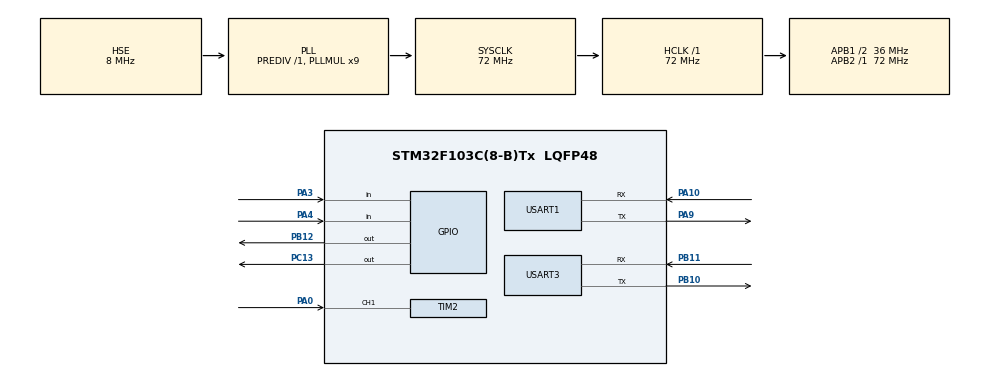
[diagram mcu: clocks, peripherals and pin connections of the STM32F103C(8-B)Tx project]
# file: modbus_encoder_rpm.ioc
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Dma.Request0=USART3_RX
Dma.Request1=USART3_TX
Dma.USART3_RX.0.Direction=DMA_PERIPH_TO_MEMORY
Dma.USART3_RX.0.Instance=DMA1_Channel3
Dma.USART3_RX.0.MemDataAlignment=DMA_MDATAALIGN_BYTE
Dma.USART3_RX.0.MemInc=DMA_MINC_ENABLE
Dma.USART3_RX.0.Mode=DMA_CIRCULAR
Dma.USART3_RX.0.PeriphDataAlignment=DMA_PDATAALIGN_BYTE
Dma.USART3_RX.0.PeriphInc=DMA_PINC_DISABLE
Dma.USART3_RX.0.Priority=DMA_PRIORITY_LOW
Dma.USART3_TX.1.Direction=DMA_MEMORY_TO_PERIPH
Dma.USART3_TX.1.Instance=DMA1_Channel2
Dma.USART3_TX.1.MemDataAlignment=DMA_MDATAALIGN_BYTE
Dma.USART3_TX.1.MemInc=DMA_MINC_ENABLE
Dma.USART3_TX.1.Mode=DMA_NORMAL
Dma.USART3_TX.1.PeriphDataAlignment=DMA_PDATAALIGN_BYTE
Dma.USART3_TX.1.PeriphInc=DMA_PINC_DISABLE
Dma.USART3_TX.1.Priority=DMA_PRIORITY_LOW
IWDG.Prescaler=IWDG_PRESCALER_64
IWDG.Reload=2499
Mcu.Family=STM32F1
Mcu.Name=STM32F103C(8-B)Tx
Mcu.Package=LQFP48
NVIC.DMA1_Channel2_IRQn=true\:0\:0\:false\:false\:true\:false\:true\:true
NVIC.DMA1_Channel3_IRQn=true\:0\:0\:false\:false\:true\:false\:true\:true
NVIC.FLASH_IRQn=true\:0\:0\:false\:false\:true\:true\:true\:true
NVIC.PriorityGroup=NVIC_PRIORITYGROUP_4
NVIC.TIM2_IRQn=true\:0\:0\:false\:false\:true\:true\:true\:true
NVIC.USART1_IRQn=true\:0\:0\:false\:false\:true\:true\:true\:true
NVIC.USART3_IRQn=true\:0\:0\:false\:false\:true\:true\:true\:true
PA0-WKUP.Signal=S_TIM2_CH1_ETR
PA10.Mode=Asynchronous
PA10.Signal=USART1_RX
PA13.Mode=Serial_Wire
PA13.Signal=SYS_JTMS-SWDIO
PA14.Mode=Serial_Wire
PA14.Signal=SYS_JTCK-SWCLK
PA3.GPIO_PuPd=GPIO_PULLUP
PA3.Signal=GPIO_Input
PA4.GPIO_PuPd=GPIO_PULLUP
PA4.Signal=GPIO_Input
PA9.Mode=Asynchronous
PA9.Signal=USART1_TX
PB10.Mode=Asynchronous
PB10.Signal=USART3_TX
PB11.Mode=Asynchronous
PB11.Signal=USART3_RX
PB12.Signal=GPIO_Output
PC13-TAMPER-RTC.Signal=GPIO_Output
PD0-OSC_IN.Mode=HSE-External-Oscillator
PD0-OSC_IN.Signal=RCC_OSC_IN
PD1-OSC_OUT.Mode=HSE-External-Oscillator
PD1-OSC_OUT.Signal=RCC_OSC_OUT
ProjectManager.HeapSize=0x200
ProjectManager.StackSize=0x400
ProjectManager.TargetToolchain=STM32CubeIDE
RCC.AHBFreq_Value=72000000
RCC.APB1CLKDivider=RCC_HCLK_DIV2
RCC.APB1Freq_Value=36000000
RCC.APB1TimFreq_Value=72000000
RCC.APB2Freq_Value=72000000
RCC.APB2TimFreq_Value=72000000
RCC.HCLKFreq_Value=72000000
RCC.PLLMUL=RCC_PLL_MUL9
RCC.PLLSourceVirtual=RCC_PLLSOURCE_HSE
RCC.SYSCLKFreq_VALUE=72000000
RCC.SYSCLKSource=RCC_SYSCLKSOURCE_PLLCLK
RCC.USBFreq_Value=72000000
SH.S_TIM2_CH1_ETR.0=TIM2_CH1,Input_Capture1_from_TI1
TIM2.Channel-Input_Capture1_from_TI1=TIM_CHANNEL_1
TIM2.ICPolarity_CH1=TIM_INPUTCHANNELPOLARITY_RISING
TIM2.Period=999
TIM2.Prescaler=8000
TIM4.Prescaler=71
USART1.VirtualMode=VM_ASYNC
USART3.VirtualMode=VM_ASYNC
VP_IWDG_VS_IWDG.Mode=IWDG_Activate
VP_TIM2_VS_ClockSourceINT.Mode=Internal
VP_TIM4_VS_ClockSourceINT.Mode=Internal
board=custom

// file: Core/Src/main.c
/* USER CODE BEGIN Header */
/**
 ******************************************************************************
 * @file           : main.c
 * @brief          : Main program body
 ******************************************************************************
 * @attention
 *
 * Copyright (c) 2025 STMicroelectronics.
 * All rights reserved.
 *
 * This software is licensed under terms that can be found in the LICENSE file
 * in the root directory of this software component.
 * If no LICENSE file comes with this software, it is provided AS-IS.
 *
 ******************************************************************************
 */
/* USER CODE END Header */
#include "main.h"

/* USER CODE BEGIN Includes */
#include "myFlash.h"
#include "myEncoder.h"
#include "myUart.h"

#include "queue/queue.h"
#include "modbus_master/modbus_master.h"
#include "modbus_slave/modbus_slave.h"
#include <stdlib.h>
#include <math.h>
#include "wifi_command/wifi_command.h"
/* USER CODE END Includes */

/* USER CODE BEGIN PTD */
Encoder_t enc2;
UartReceiver_t uart_rx;
/* USER CODE END PTD */

/* USER CODE BEGIN PD */

//#define M_LENGTH
//#define MODBUS_MASTER 	//uncomment để bật chế đô modbus slave

/* USER CODE END PD */

/* USER CODE BEGIN PM */
uint32_t PPR = 600;
float DIA = 0.25f;
uint32_t TIME = 100000;  // 100ms in microseconds
int64_t pulse_t = 0;
int rpm_int = 0;
int speed_m_min = 0;
// TIM4 time-base variables
volatile uint32_t tim4_overflow_count = 0;

volatile uint32_t ic_val1 = 0;
volatile uint32_t ic_val2 = 0;
volatile uint32_t delta = 0;
volatile uint8_t  is_first_capture = 0;
volatile float rpm = 0.0f;
// Timer sau chia prescaler còn 100kHz
#define TIM_CLK_HZ   100000.0f
/* USER CODE END PM */

IWDG_HandleTypeDef hiwdg;

TIM_HandleTypeDef htim2;
TIM_HandleTypeDef htim4;

UART_HandleTypeDef huart1;
UART_HandleTypeDef huart3;
DMA_HandleTypeDef hdma_usart3_rx;
DMA_HandleTypeDef hdma_usart3_tx;

/* USER CODE BEGIN PV */
// ------------------- Printf --------------------------
#ifdef __GNUC__
int __io_putchar(int ch)
#else
int fputc(int ch, FILE *f)
#endif
{
	HAL_UART_Transmit(&huart1, (uint8_t*) &ch, 1, HAL_MAX_DELAY);
	return ch;
}
/* USER CODE END PV */

void SystemClock_Config(void);
static void MX_GPIO_Init(void);
static void MX_DMA_Init(void);
static void MX_TIM2_Init(void);
static void MX_IWDG_Init(void);
static void MX_USART1_UART_Init(void);
static void MX_USART3_UART_Init(void);
static void MX_TIM4_Init(void);
/* USER CODE BEGIN PFP */

// TIM4 time-base functions for microsecond precision
uint32_t GetMicros(void) {
	return (tim4_overflow_count * 65536UL) + __HAL_TIM_GET_COUNTER(&htim4);
}

// More precise millisecond function
uint32_t GetMillis(void) {
	static uint32_t last_micros = 0;
	static uint32_t millis_count = 0;

	uint32_t current_micros = GetMicros();

	// Check if 1000 microseconds have passed
	if (current_micros - last_micros >= 1000) {
		millis_count += (current_micros - last_micros) / 1000;
		last_micros = current_micros - ((current_micros - last_micros) % 1000);
	}

	return millis_count;
}

// Alternative: Direct microsecond-based timing for encoder
uint64_t GetMicros64(void) {
	return (uint64_t) tim4_overflow_count * 65536ULL
			+ __HAL_TIM_GET_COUNTER(&htim4);
}

void HAL_UART_IDLE_Callback(UART_HandleTypeDef *huart) {
	printf("HAL_UART_IDLE_Callback!\n");
	if (huart->Instance == USART3) {
		uint16_t len = UART_RX_BUFFER_SIZE
				- __HAL_DMA_GET_COUNTER(huart->hdmarx);
		if (len > 0 && len <= MODBUS_FRAME_MAX_LEN) {
			queue_frame_t frame;
			memcpy(frame.data, uart_rx_buffer, len);
			frame.len = len;

			if (!queue_push(&frame)) {
				printf("⚠️ Queue full- Remove frame!\r\n");
			}
		}

		// Reset DMA
		HAL_UART_DMAStop(huart);
		HAL_UART_Receive_DMA(huart, uart_rx_buffer, UART_RX_BUFFER_SIZE);
	}
}

////////////////////// Dùng cái này nếu stm32 là MODBUS SLAVE /////////////
#define SLAVE_ID 0x01
uint16_t holding_regs[10];
volatile uint32_t encoder_pulses = 0;
volatile uint32_t distance_mm = 0;
void on_write_single_register(uint16_t addr, uint16_t value) {
	switch (addr) {
	case 0:
		holding_regs[0] = value;
		PPR = value;
		myFlash_Write(FLASH_PAGE_PPR, PPR);
		break; // số xung
	case 1:
		holding_regs[1] = value;
		DIA = (float) value / 1000.0;
		myFlash_Write(FLASH_PAGE_DIA, *(uint32_t*) &DIA);
		break; // đường kính (mm)
	case 2:
		holding_regs[2] = value;
		TIME = value * 1000;  // Convert ms input to microseconds
		myFlash_Write(FLASH_PAGE_TIME, TIME);
		break; // thời gian lấy mẫu (ms input, stored as us)
	default:
		break;
	}
	Encoder_Init(&enc2, &htim2, (PPR), DIA, TIME);
}
void on_write_multiple_registers(uint16_t addr, const uint16_t *values,
		uint16_t quantity) {
	printf("Master write multi registers!\n");
}
void modbus_slave_setup() {
	modbus_slave_config_t slave_cfg = { .id = 1, .holding_registers =
			holding_regs, .holding_register_count = 10,
			.on_write_single_register = on_write_single_register,
			.on_write_multiple_registers = on_write_multiple_registers };

	modbus_slave_init(&huart3, &slave_cfg);
	holding_regs[0] = PPR;  // số xung
	holding_regs[1] = DIA * 1000;  // đường kính (mm)
	holding_regs[2] = TIME / 1000; // thời gian lấy mẫu (display as ms)
}

/* USER CODE END PFP */

/* USER CODE BEGIN 0 */
int32_t len_val;
float dia_val;
#ifdef M_LENGTH
float length = 0;
#endif
uint8_t test = 0;
uint8_t uart_byte;
uint32_t parity = 0;
uint32_t c_uart = 0;
uint16_t CaptureTime = 0;
void HAL_UART_RxCpltCallback(UART_HandleTypeDef *huart) {
	if (huart->Instance == USART1) {
//    	HAL_UART_Transmit(&huart1, "hello", 8, 100);

		HAL_UART_Receive_IT(&huart1, &uart_byte, 1);
		MyUart_OnRx(&uart_rx, uart_byte);
	}
}

void HAL_UART_TxCpltCallback(UART_HandleTypeDef *huart) {
	if (huart->Instance == USART3) {
		HAL_GPIO_WritePin(GPIOB, GPIO_PIN_12, GPIO_PIN_RESET);
	}
}
void HAL_TIM_IC_CaptureCallback(TIM_HandleTypeDef *htim)
{
    if (htim->Instance == TIM2)
    {
    	CaptureTime = __HAL_TIM_GET_COMPARE(htim, TIM_CHANNEL_1);
    	__HAL_TIM_SET_COUNTER(htim, 0); // Reset counter after capture

    }
}
/* USER CODE END 0 */

int main(void)
{

  /* MCU Configuration--------------------------------------------------------*/

  /* Reset of all peripherals, Initializes the Flash interface and the Systick. */
  HAL_Init();

  /* Configure the system clock */
  SystemClock_Config();

  /* Initialize all configured peripherals */
  MX_GPIO_Init();
  MX_DMA_Init();
  MX_TIM2_Init();
  MX_IWDG_Init();
  MX_USART1_UART_Init();
  MX_USART3_UART_Init();
  MX_TIM4_Init();
  /* USER CODE BEGIN 2 */
	// ----------------- UART3 -----------------------------
	HAL_UART_Receive_DMA(&huart3, uart_rx_buffer, UART_RX_BUFFER_SIZE);
	__HAL_UART_ENABLE_IT(&huart3, UART_IT_IDLE);
	modbus_slave_setup();

	// ----------------- UART1 -----------------------------
	MyUart_Init(&uart_rx, &huart1);
	HAL_UART_Receive_IT(&huart1, &uart_byte, 1);

	// ----------------- TIM4 Time Base ----------------------
	HAL_TIM_Base_Start_IT(&htim4); // Start TIM4 with interrupt for overflow counting

	// Enable TIM4 interrupt
	HAL_NVIC_SetPriority(TIM4_IRQn, 2, 0);
	HAL_NVIC_EnableIRQ(TIM4_IRQn);

	// ----------------- IWDG -------------------------------
	HAL_IWDG_Init(&hiwdg);
//  Encoder_Init(&enc2, &htim2, PPR, DIA, TIME);
	HAL_TIM_IC_Start_IT(&htim2, TIM_CHANNEL_1);
  /* USER CODE END 2 */

  /* Infinite loop */
  /* USER CODE BEGIN WHILE */
	while (1) {
// ------------------------------- Refresh Watchdog --------------------------
		HAL_IWDG_Refresh(&hiwdg);

// ------------------------------- Test Timing Accuracy ----------------------
//	  test_timing_accuracy();

// ------------------------------- Receive UART ------------------------------
		holding_regs[0] = PPR;  // số xung
		holding_regs[1] = DIA * 1000;  // đường kính (mm)
		holding_regs[2] = TIME / 1000; // thời gian lấy mẫu (display as ms)

//	  pulse_t = Encoder_GetPulse(&enc2);
// -------------------------- Update Encoder ---------------------
//	  Encoder_Update(&enc2);
		// Convert float RPM to int for Modbus transmission
//		rpm_int = Encoder_GetRPMInt(&enc2);
//		speed_m_min = Encoder_GetMetersPerMinuteInt(&enc2);
//		holding_regs[5] = (uint16_t) (rpm_int & 0xFFFF);
//		holding_regs[6] = (uint16_t) ((rpm_int >> 16) & 0xFFFF);
		queue_frame_t frame;
		if (queue_pop(&frame)) {
			printf("📥 Processing %d byte\n", frame.len);
			modbus_slave_handle_frame(frame.data, frame.len);
		}

    /* USER CODE END WHILE */

	}
}

void SystemClock_Config(void)
{
  RCC_OscInitTypeDef RCC_OscInitStruct = {0};
  RCC_ClkInitTypeDef RCC_ClkInitStruct = {0};

  /** Initializes the RCC Oscillators according to the specified parameters
  * in the RCC_OscInitTypeDef structure.
  */
  RCC_OscInitStruct.OscillatorType = RCC_OSCILLATORTYPE_LSI|RCC_OSCILLATORTYPE_HSE;
  RCC_OscInitStruct.HSEState = RCC_HSE_ON;
  RCC_OscInitStruct.HSEPredivValue = RCC_HSE_PREDIV_DIV1;
  RCC_OscInitStruct.HSIState = RCC_HSI_ON;
  RCC_OscInitStruct.LSIState = RCC_LSI_ON;
  RCC_OscInitStruct.PLL.PLLState = RCC_PLL_ON;
  RCC_OscInitStruct.PLL.PLLSource = RCC_PLLSOURCE_HSE;
  RCC_OscInitStruct.PLL.PLLMUL = RCC_PLL_MUL9;
  if (HAL_RCC_OscConfig(&RCC_OscInitStruct) != HAL_OK)
  {
    Error_Handler();
  }

  /** Initializes the CPU, AHB and APB buses clocks
  */
  RCC_ClkInitStruct.ClockType = RCC_CLOCKTYPE_HCLK|RCC_CLOCKTYPE_SYSCLK
                              |RCC_CLOCKTYPE_PCLK1|RCC_CLOCKTYPE_PCLK2;
  RCC_ClkInitStruct.SYSCLKSource = RCC_SYSCLKSOURCE_PLLCLK;
  RCC_ClkInitStruct.AHBCLKDivider = RCC_SYSCLK_DIV1;
  RCC_ClkInitStruct.APB1CLKDivider = RCC_HCLK_DIV2;
  RCC_ClkInitStruct.APB2CLKDivider = RCC_HCLK_DIV1;

  if (HAL_RCC_ClockConfig(&RCC_ClkInitStruct, FLASH_LATENCY_2) != HAL_OK)
  {
    Error_Handler();
  }
}

static void MX_IWDG_Init(void)
{

  hiwdg.Instance = IWDG;
  hiwdg.Init.Prescaler = IWDG_PRESCALER_64;
  hiwdg.Init.Reload = 2499;
  if (HAL_IWDG_Init(&hiwdg) != HAL_OK)
  {
    Error_Handler();
  }

}

static void MX_TIM2_Init(void)
{

  TIM_ClockConfigTypeDef sClockSourceConfig = {0};
  TIM_MasterConfigTypeDef sMasterConfig = {0};
  TIM_IC_InitTypeDef sConfigIC = {0};

  htim2.Instance = TIM2;
  htim2.Init.Prescaler = 8000;
  htim2.Init.CounterMode = TIM_COUNTERMODE_UP;
  htim2.Init.Period = 999;
  htim2.Init.ClockDivision = TIM_CLOCKDIVISION_DIV1;
  htim2.Init.AutoReloadPreload = TIM_AUTORELOAD_PRELOAD_DISABLE;
  if (HAL_TIM_Base_Init(&htim2) != HAL_OK)
  {
    Error_Handler();
  }
  sClockSourceConfig.ClockSource = TIM_CLOCKSOURCE_INTERNAL;
  if (HAL_TIM_ConfigClockSource(&htim2, &sClockSourceConfig) != HAL_OK)
  {
    Error_Handler();
  }
  if (HAL_TIM_IC_Init(&htim2) != HAL_OK)
  {
    Error_Handler();
  }
  sMasterConfig.MasterOutputTrigger = TIM_TRGO_RESET;
  sMasterConfig.MasterSlaveMode = TIM_MASTERSLAVEMODE_DISABLE;
  if (HAL_TIMEx_MasterConfigSynchronization(&htim2, &sMasterConfig) != HAL_OK)
  {
    Error_Handler();
  }
  sConfigIC.ICPolarity = TIM_INPUTCHANNELPOLARITY_RISING;
  sConfigIC.ICSelection = TIM_ICSELECTION_DIRECTTI;
  sConfigIC.ICPrescaler = TIM_ICPSC_DIV1;
  sConfigIC.ICFilter = 0;
  if (HAL_TIM_IC_ConfigChannel(&htim2, &sConfigIC, TIM_CHANNEL_1) != HAL_OK)
  {
    Error_Handler();
  }

}

static void MX_TIM4_Init(void)
{

  TIM_ClockConfigTypeDef sClockSourceConfig = {0};
  TIM_MasterConfigTypeDef sMasterConfig = {0};

  htim4.Instance = TIM4;
  htim4.Init.Prescaler = 71;
  htim4.Init.CounterMode = TIM_COUNTERMODE_UP;
  htim4.Init.Period = 65535;
  htim4.Init.ClockDivision = TIM_CLOCKDIVISION_DIV1;
  htim4.Init.AutoReloadPreload = TIM_AUTORELOAD_PRELOAD_DISABLE;
  if (HAL_TIM_Base_Init(&htim4) != HAL_OK)
  {
    Error_Handler();
  }
  sClockSourceConfig.ClockSource = TIM_CLOCKSOURCE_INTERNAL;
  if (HAL_TIM_ConfigClockSource(&htim4, &sClockSourceConfig) != HAL_OK)
  {
    Error_Handler();
  }
  sMasterConfig.MasterOutputTrigger = TIM_TRGO_RESET;
  sMasterConfig.MasterSlaveMode = TIM_MASTERSLAVEMODE_DISABLE;
  if (HAL_TIMEx_MasterConfigSynchronization(&htim4, &sMasterConfig) != HAL_OK)
  {
    Error_Handler();
  }

}

static void MX_USART1_UART_Init(void)
{

  huart1.Instance = USART1;
  huart1.Init.BaudRate = 115200;
  huart1.Init.WordLength = UART_WORDLENGTH_8B;
  huart1.Init.StopBits = UART_STOPBITS_1;
  huart1.Init.Parity = UART_PARITY_NONE;
  huart1.Init.Mode = UART_MODE_TX_RX;
  huart1.Init.HwFlowCtl = UART_HWCONTROL_NONE;
  huart1.Init.OverSampling = UART_OVERSAMPLING_16;
  if (HAL_UART_Init(&huart1) != HAL_OK)
  {
    Error_Handler();
  }

}

static void MX_USART3_UART_Init(void)
{

  huart3.Instance = USART3;
  huart3.Init.BaudRate = 115200;
  huart3.Init.WordLength = UART_WORDLENGTH_8B;
  huart3.Init.StopBits = UART_STOPBITS_1;
  huart3.Init.Parity = UART_PARITY_NONE;
  huart3.Init.Mode = UART_MODE_TX_RX;
  huart3.Init.HwFlowCtl = UART_HWCONTROL_NONE;
  huart3.Init.OverSampling = UART_OVERSAMPLING_16;
  if (HAL_UART_Init(&huart3) != HAL_OK)
  {
    Error_Handler();
  }

}

static void MX_DMA_Init(void)
{

  /* DMA controller clock enable */
  __HAL_RCC_DMA1_CLK_ENABLE();

  /* DMA interrupt init */
  /* DMA1_Channel2_IRQn interrupt configuration */
  HAL_NVIC_SetPriority(DMA1_Channel2_IRQn, 0, 0);
  HAL_NVIC_EnableIRQ(DMA1_Channel2_IRQn);
  /* DMA1_Channel3_IRQn interrupt configuration */
  HAL_NVIC_SetPriority(DMA1_Channel3_IRQn, 0, 0);
  HAL_NVIC_EnableIRQ(DMA1_Channel3_IRQn);

}

static void MX_GPIO_Init(void)
{
  GPIO_InitTypeDef GPIO_InitStruct = {0};

  /* GPIO Ports Clock Enable */
  __HAL_RCC_GPIOC_CLK_ENABLE();
  __HAL_RCC_GPIOD_CLK_ENABLE();
  __HAL_RCC_GPIOA_CLK_ENABLE();
  __HAL_RCC_GPIOB_CLK_ENABLE();

  /*Configure GPIO pin Output Level */
  HAL_GPIO_WritePin(GPIOC, GPIO_PIN_13, GPIO_PIN_RESET);

  /*Configure GPIO pin Output Level */
  HAL_GPIO_WritePin(GPIOB, GPIO_PIN_12, GPIO_PIN_RESET);

  /*Configure GPIO pin : PC13 */
  GPIO_InitStruct.Pin = GPIO_PIN_13;
  GPIO_InitStruct.Mode = GPIO_MODE_OUTPUT_PP;
  GPIO_InitStruct.Pull = GPIO_NOPULL;
  GPIO_InitStruct.Speed = GPIO_SPEED_FREQ_LOW;
  HAL_GPIO_Init(GPIOC, &GPIO_InitStruct);

  /*Configure GPIO pins : PA3 PA4 */
  GPIO_InitStruct.Pin = GPIO_PIN_3|GPIO_PIN_4;
  GPIO_InitStruct.Mode = GPIO_MODE_INPUT;
  GPIO_InitStruct.Pull = GPIO_PULLUP;
  HAL_GPIO_Init(GPIOA, &GPIO_InitStruct);

  /*Configure GPIO pin : PB12 */
  GPIO_InitStruct.Pin = GPIO_PIN_12;
  GPIO_InitStruct.Mode = GPIO_MODE_OUTPUT_PP;
  GPIO_InitStruct.Pull = GPIO_NOPULL;
  GPIO_InitStruct.Speed = GPIO_SPEED_FREQ_LOW;
  HAL_GPIO_Init(GPIOB, &GPIO_InitStruct);

}

void Error_Handler(void)
{
	__disable_irq();
	while (1) {
	}
}
